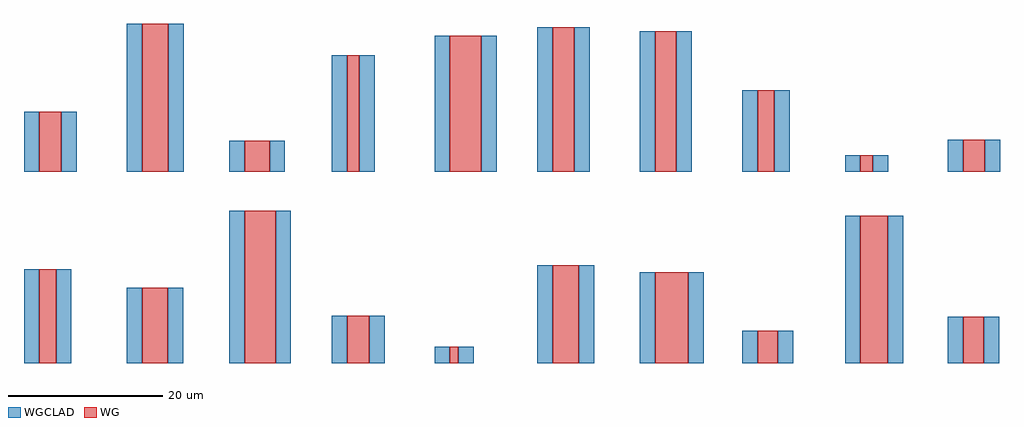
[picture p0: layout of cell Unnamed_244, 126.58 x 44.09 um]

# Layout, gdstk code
from math import pi, radians
import gdstk
lib = gdstk.Library(unit=1e-6, precision=1e-09)
def R(c, l, rs):  # rectangles x0, y0, x1, y1
    for r in rs: c.add(gdstk.rectangle(r[:2], r[2:], *l))
WG = (1, 0)
WGCLAD = (111, 0)

straight_w2712_l18222_lw = lib.new_cell('straight_W2712_L18222_LWG_EWGSTD')
R(straight_w2712_l18222_lw, WG, [(0,-1.356,18.222,1.356)])
R(straight_w2712_l18222_lw, WGCLAD, [(0,-3.356,18.222,-1.356), (0,1.356,18.222,3.356)])

straight_w4062_l17659_lw = lib.new_cell('straight_W4062_L17659_LWG_EWGSTD')
R(straight_w4062_l17659_lw, WG, [(0,-2.031,17.659,2.031)])
R(straight_w4062_l17659_lw, WGCLAD, [(0,-4.031,17.659,-2.031), (0,2.031,17.659,4.031)])

straight_w1538_l15157_lw = lib.new_cell('straight_W1538_L15157_LWG_EWGSTD')
R(straight_w1538_l15157_lw, WG, [(0,-0.769,15.157,0.769)])
R(straight_w1538_l15157_lw, WGCLAD, [(0,-2.769,15.157,-0.769), (0,0.769,15.157,2.769)])

straight_w2818_l18786_lw = lib.new_cell('straight_W2818_L18786_LWG_EWGSTD')
R(straight_w2818_l18786_lw, WG, [(0,-1.409,18.786,1.409)])
R(straight_w2818_l18786_lw, WGCLAD, [(0,-3.409,18.786,-1.409), (0,1.409,18.786,3.409)])

straight_w2152_l12241_lw = lib.new_cell('straight_W2152_L12241_LWG_EWGSTD')
R(straight_w2152_l12241_lw, WG, [(0,-1.076,12.241,1.076)])
R(straight_w2152_l12241_lw, WGCLAD, [(0,-3.076,12.241,-1.076), (0,1.076,12.241,3.076)])

straight_w1614_l2166_lwg = lib.new_cell('straight_W1614_L2166_LWG_EWGSTD')
R(straight_w1614_l2166_lwg, WG, [(0,-0.807,2.166,0.807)])
R(straight_w1614_l2166_lwg, WGCLAD, [(0,-2.807,2.166,-0.807), (0,0.807,2.166,2.807)])

straight_w3326_l9834_lwg = lib.new_cell('straight_W3326_L9834_LWG_EWGSTD')
R(straight_w3326_l9834_lwg, WG, [(0,-1.663,9.834,1.663)])
R(straight_w3326_l9834_lwg, WGCLAD, [(0,-3.663,9.834,-1.663), (0,1.663,9.834,3.663)])

straight_w2158_l10574_lw = lib.new_cell('straight_W2158_L10574_LWG_EWGSTD')
R(straight_w2158_l10574_lw, WG, [(0,-1.079,10.574,1.079)])
R(straight_w2158_l10574_lw, WGCLAD, [(0,-3.079,10.574,-1.079), (0,1.079,10.574,3.079)])

straight_w4004_l19838_lw = lib.new_cell('straight_W4004_L19838_LWG_EWGSTD')
R(straight_w4004_l19838_lw, WG, [(0,-2.002,19.838,2.002)])
R(straight_w4004_l19838_lw, WGCLAD, [(0,-4.002,19.838,-2.002), (0,2.002,19.838,4.002)])

straight_w2858_l6199_lwg = lib.new_cell('straight_W2858_L6199_LWG_EWGSTD')
R(straight_w2858_l6199_lwg, WG, [(0,-1.429,6.199,1.429)])
R(straight_w2858_l6199_lwg, WGCLAD, [(0,-3.429,6.199,-1.429), (0,1.429,6.199,3.429)])

straight_w2788_l4151_lwg = lib.new_cell('straight_W2788_L4151_LWG_EWGSTD')
R(straight_w2788_l4151_lwg, WG, [(0,-1.394,4.151,1.394)])
R(straight_w2788_l4151_lwg, WGCLAD, [(0,-3.394,4.151,-1.394), (0,1.394,4.151,3.394)])

straight_w1086_l2192_lwg = lib.new_cell('straight_W1086_L2192_LWG_EWGSTD')
R(straight_w1086_l2192_lwg, WG, [(0,-0.543,2.192,0.543)])
R(straight_w1086_l2192_lwg, WGCLAD, [(0,-2.543,2.192,-0.543), (0,0.543,2.192,2.543)])

straight_w3376_l12739_lw = lib.new_cell('straight_W3376_L12739_LWG_EWGSTD')
R(straight_w3376_l12739_lw, WG, [(0,-1.688,12.739,1.688)])
R(straight_w3376_l12739_lw, WGCLAD, [(0,-3.688,12.739,-1.688), (0,1.688,12.739,3.688)])

straight_w4310_l11836_lw = lib.new_cell('straight_W4310_L11836_LWG_EWGSTD')
R(straight_w4310_l11836_lw, WG, [(0,-2.155,11.836,2.155)])
R(straight_w4310_l11836_lw, WGCLAD, [(0,-4.155,11.836,-2.155), (0,2.155,11.836,4.155)])

straight_w2610_l4266_lwg = lib.new_cell('straight_W2610_L4266_LWG_EWGSTD')
R(straight_w2610_l4266_lwg, WG, [(0,-1.305,4.266,1.305)])
R(straight_w2610_l4266_lwg, WGCLAD, [(0,-3.305,4.266,-1.305), (0,1.305,4.266,3.305)])

straight_w3538_l19149_lw = lib.new_cell('straight_W3538_L19149_LWG_EWGSTD')
R(straight_w3538_l19149_lw, WG, [(0,-1.769,19.149,1.769)])
R(straight_w3538_l19149_lw, WGCLAD, [(0,-3.769,19.149,-1.769), (0,1.769,19.149,3.769)])

straight_w2698_l6064_lwg = lib.new_cell('straight_W2698_L6064_LWG_EWGSTD')
R(straight_w2698_l6064_lwg, WG, [(0,-1.349,6.064,1.349)])
R(straight_w2698_l6064_lwg, WGCLAD, [(0,-3.349,6.064,-1.349), (0,1.349,6.064,3.349)])

straight_w3226_l4059_lwg = lib.new_cell('straight_W3226_L4059_LWG_EWGSTD')
R(straight_w3226_l4059_lwg, WG, [(0,-1.613,4.059,1.613)])
R(straight_w3226_l4059_lwg, WGCLAD, [(0,-3.613,4.059,-1.613), (0,1.613,4.059,3.613)])

straight_w2838_l7839_lwg = lib.new_cell('straight_W2838_L7839_LWG_EWGSTD')
R(straight_w2838_l7839_lwg, WG, [(0,-1.419,7.839,1.419)])
R(straight_w2838_l7839_lwg, WGCLAD, [(0,-3.419,7.839,-1.419), (0,1.419,7.839,3.419)])

straight_w3402_l19248_lw = lib.new_cell('straight_W3402_L19248_LWG_EWGSTD')
R(straight_w3402_l19248_lw, WG, [(0,-1.701,19.248,1.701)])
R(straight_w3402_l19248_lw, WGCLAD, [(0,-3.701,19.248,-1.701), (0,1.701,19.248,3.701)])

unnamed_244 = lib.new_cell('Unnamed_244')
unnamed_244.add(gdstk.Reference(straight_w2712_l18222_lw, (89.871,37.257), rotation=pi/2))
unnamed_244.add(gdstk.Reference(straight_w4062_l17659_lw, (63.926,37.257), rotation=pi/2))
unnamed_244.add(gdstk.Reference(straight_w1538_l15157_lw, (49.354,37.257), rotation=pi/2))
unnamed_244.add(gdstk.Reference(straight_w2818_l18786_lw, (76.614,37.257), rotation=pi/2))
unnamed_244.add(gdstk.Reference(straight_w2152_l12241_lw, (9.731,12.419), rotation=pi/2))
unnamed_244.add(gdstk.Reference(straight_w1614_l2166_lwg, (115.942,37.257), rotation=pi/2))
unnamed_244.add(gdstk.Reference(straight_w3326_l9834_lwg, (23.628,12.419), rotation=pi/2))
unnamed_244.add(gdstk.Reference(straight_w2158_l10574_lw, (102.904,37.257), rotation=pi/2))
unnamed_244.add(gdstk.Reference(straight_w4004_l19838_lw, (37.277,12.419), rotation=pi/2))
unnamed_244.add(gdstk.Reference(straight_w2858_l6199_lwg, (50.014,12.419), rotation=pi/2))
unnamed_244.add(gdstk.Reference(straight_w2788_l4151_lwg, (129.839,37.257), rotation=pi/2))
unnamed_244.add(gdstk.Reference(straight_w1086_l2192_lwg, (62.438,12.419), rotation=pi/2))
unnamed_244.add(gdstk.Reference(straight_w3376_l12739_lw, (76.893,12.419), rotation=pi/2))
unnamed_244.add(gdstk.Reference(straight_w4310_l11836_lw, (90.67,12.419), rotation=pi/2))
unnamed_244.add(gdstk.Reference(straight_w2610_l4266_lwg, (103.13,12.419), rotation=pi/2))
unnamed_244.add(gdstk.Reference(straight_w3538_l19149_lw, (116.904,12.419), rotation=pi/2))
unnamed_244.add(gdstk.Reference(straight_w2698_l6064_lwg, (129.794,12.419), rotation=pi/2))
unnamed_244.add(gdstk.Reference(straight_w3226_l4059_lwg, (36.888,37.257), rotation=pi/2))
unnamed_244.add(gdstk.Reference(straight_w2838_l7839_lwg, (10.074,37.257), rotation=pi/2))
unnamed_244.add(gdstk.Reference(straight_w3402_l19248_lw, (23.666,37.257), rotation=pi/2))

lib.write_gds('Unnamed_244.gds')
